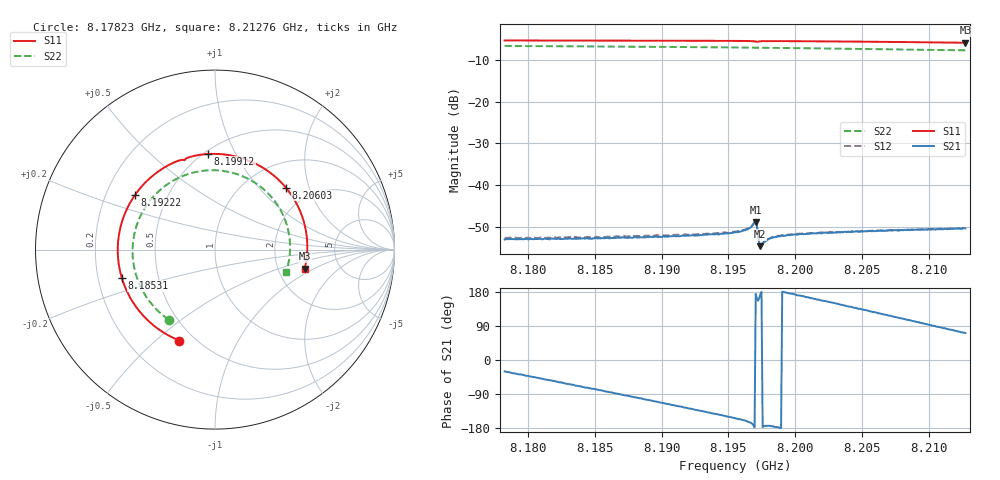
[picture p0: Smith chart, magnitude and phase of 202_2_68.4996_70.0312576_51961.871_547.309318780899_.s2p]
#  HZ  S  RI  R  50.00
! Rohde & Schwarz Vector Network Analyzer
! Rohde-Schwarz,ZNB20-2Port,1311601062101988,3.16
! Created: UTC 3/20/2024, 4:57:40 PM
! freq[Hz]  re:S11  im:S11  re:S21  im:S21  re:S12  im:S12  re:S22  im:S22
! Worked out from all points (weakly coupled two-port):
!   401 points, 8.17823 GHz to 8.21276 GHz, reference 50 ohm
!   highest |S21| = -48.88 dB at 8.19705 GHz (marker M1); lowest = -54.7 dB at 8.1974 GHz (marker M2)
!   lowest |S11| = -5.8 dB at 8.21276 GHz (marker M3), VSWR 3.09, Z = 141 - j40.7 ohm
!   |S11| at or under -10 dB: nowhere
!   |S22| runs from -7.6 to -6.6 dB; largest |S21 - S12| = 0.0002
!   S11 on the Smith chart (normalised r, x): 8.17823 GHz: 0.42, -0.60; 8.18531 GHz: 0.30, -0.14; 8.19222 GHz: 0.32, +0.28; 8.19912 GHz: 0.53, +0.78; 8.20603 GHz: 1.49, +1.42; 8.21276 GHz: 2.82, -0.81
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8.178233e9  -0.198 -0.5067  0.00192 -0.00111  0.00201 -0.00115  -0.2583 -0.3903
8.180996e9  -0.3599 -0.4074  0.00146 -0.0017  0.00152 -0.0018  -0.3691 -0.2828
8.184017e9  -0.4863 -0.2415  0.00078 -0.00215  0.000769 -0.00226  -0.4426 -0.1324
8.185312e9  -0.5192 -0.1577  0.000425 -0.00227  0.000389 -0.00233  -0.4564 -0.0619
8.187557e9  -0.5419 -0.00325  -0.000212 -0.00236  -0.000261 -0.00241  -0.4541 0.0623
8.189801e9  -0.5193 0.1517  -0.000868 -0.00223  -0.00095 -0.00229  -0.4181 0.1813
8.192218e9  -0.4462 0.3038  -0.00156 -0.00193  -0.00166 -0.00196  -0.3449 0.2934
8.195499e9  -0.2781 0.46  -0.00241 -0.00123  -0.00253 -0.00112  -0.1987 0.4016
8.196362e9  -0.2227 0.4878  -0.00278 -0.000937  -0.00284 -0.000852  -0.1539 0.4195
8.19688e9  -0.1858 0.4998  -0.00336 -0.000485  -0.00343 -0.000353  -0.1258 0.4278
8.196966e9  -0.1789 0.5001  -0.00352 -0.000141  -0.00361 -4.98e-05  -0.1212 0.429
8.197053e9  -0.1731 0.4991  -0.00358 0.000354  -0.0036 0.000511  -0.1163 0.4301
8.197398e9  -0.1607 0.5076  -0.00184 0.000216  -0.00182 0.000308  -0.0976 0.4342
8.19757e9  -0.1483 0.5132  -0.00195 -9.94e-05  -0.00201 -4.43e-05  -0.0881 0.436
8.198175e9  -0.1052 0.5244  -0.0023 -0.000237  -0.00231 -0.000128  -0.054 0.4404
8.199124e9  -0.0379 0.5328  -0.00244 1.05e-05  -0.0025 0.000148  -0.00033 0.442
8.201283e9  0.1138 0.5193  -0.00253 0.000769  -0.00251 0.000897  0.1203 0.4212
8.203613e9  0.2657 0.4567  -0.00221 0.00157  -0.00216 0.00166  0.2395 0.3611
8.206031e9  0.395 0.3452  -0.00163 0.00229  -0.00157 0.00237  0.3387 0.2618
8.207067e9  0.4378 0.2854  -0.00129 0.00256  -0.00121 0.00259  0.3706 0.2097
8.209915e9  0.508 0.0961  -0.000214 0.00292  -0.000134 0.00293  0.4171 0.047
8.212764e9  0.4995 -0.1066  0.00097 0.00286  0.00105 0.00288  0.3954 -0.1249
